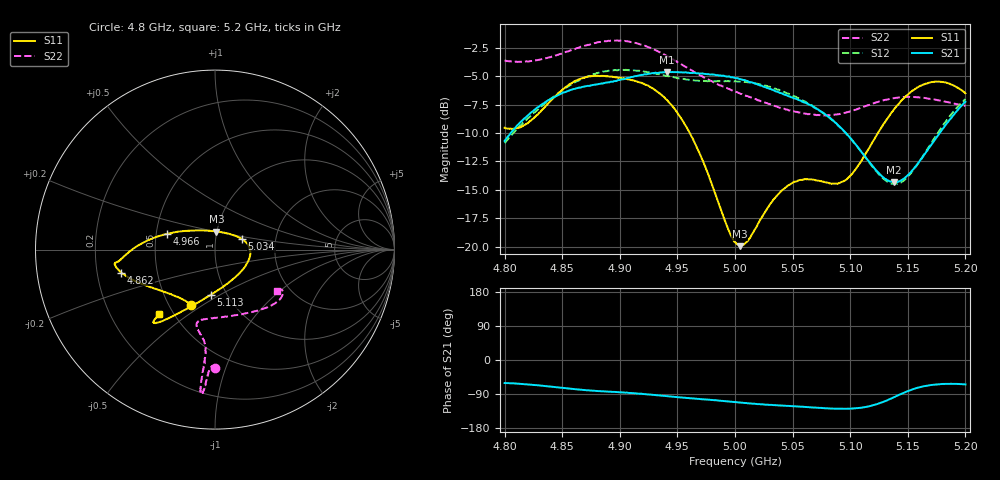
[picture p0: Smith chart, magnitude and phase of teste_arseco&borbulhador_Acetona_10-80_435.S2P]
! Network Analyzer HP8722D
! Hewlett-Packard
! Data name: Linha & Wilkinson
! Saver's name: Rodrigo Anjos
! Comments: Teste da utilização de aquisição
! continua pelo VNA HP8722D
! Time and date: 17/4/2025 17:59
!  Frequency  S11  S21  S12  S22
# HZ  S  MA R 50
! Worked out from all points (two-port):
!   401 points, 4.8 GHz to 5.2 GHz, reference 50 ohm
!   highest |S21| = -4.63 dB at 4.941 GHz (marker M1); lowest = -14.3 dB at 5.138 GHz (marker M2)
!   |S21| within 3 dB of the highest: 4.83 GHz to 5.067 GHz (236.9 MHz wide, 4.79 % of centre); 5.196363 GHz to end of sweep
!   lowest |S11| = -19.9 dB at 5.004 GHz (marker M3), VSWR 1.22, Z = 49.8 + j10.1 ohm
!   |S11| at or under -10 dB: 4.961 GHz to 5.124 GHz (163.2 MHz wide, 3.24 % of centre)
!   |S22| runs from -8.5 to -1.9 dB; largest |S21 - S12| = 0.88
!   S11 on the Smith chart (normalised r, x): 4.8 GHz: 0.65, -0.44; 4.862 GHz: 0.30, -0.11; 4.966 GHz: 0.57, +0.11; 5.034 GHz: 1.35, +0.16; 5.113 GHz: 0.84, -0.45; 5.2 GHz: 0.42, -0.39
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4.8e9  0.3336 -113.5  0.292 -60.8  0.2857 -175.0  0.6572 -90.0
4.819e9  0.3474 -133.6  0.3733 -64.1  0.3617 -173.7  0.6532 -91.7
4.862e9  0.5377 -166.2  0.4966 -77.2  0.5318 -177.0  0.7442 -94.0
4.867e9  0.5499 -168.2  0.5034 -78.6  0.5461 -177.9  0.7586 -94.1
4.902e9  0.5497 -172.9  0.544 -85.5  0.5988 175.1  0.8048 -95.5
4.934e9  0.4754 -178.8  0.5824 -93.4  0.5737 171.9  0.7184 -95.9
4.941e9  0.4416 178.0  0.5868 -95.2  0.5639 171.8  0.6892 -95.8
4.966e9  0.2796 161.7  0.5794 -102.1  0.5371 173.9  0.5805 -95.1
5e9  0.1048 99.2  0.5527 -111.0  0.5345 176.2  0.4809 -99.3
5.004e9  0.1006 85.4  0.5459 -112.1  0.5321 176.0  0.4729 -100.3
5.012e9  0.1079 60.1  0.5304 -114.3  0.5276 176.0  0.4567 -101.9
5.034e9  0.1625 20.9  0.4857 -119.2  0.4962 174.7  0.4168 -103.7
5.05e9  0.1912 4.7  0.4533 -121.8  0.4615 174.2  0.3947 -99.6
5.067e9  0.1974 -13.6  0.417 -125.1  0.4173 173.6  0.3802 -90.6
5.093e9  0.1931 -58.3  0.3294 -128.8  0.3276 174.0  0.3856 -70.5
5.113e9  0.2548 -95.6  0.2488 -124.1  0.2487 -179.7  0.4149 -54.9
5.134e9  0.377 -116.8  0.1943 -103.8  0.1909 -156.7  0.4467 -43.0
5.138e9  0.4018 -119.1  0.1919 -98.3  0.1888 -150.4  0.45 -41.2
5.151e9  0.4712 -124.8  0.2085 -81.0  0.2063 -130.4  0.4561 -36.4
5.17e9  0.5286 -129.2  0.2785 -66.1  0.2838 -112.4  0.4465 -32.0
5.184e9  0.5252 -130.6  0.3499 -63.1  0.3613 -107.2  0.4333 -31.0
5.2e9  0.4727 -131.0  0.4339 -64.4  0.4461 -106.5  0.4163 -33.4
